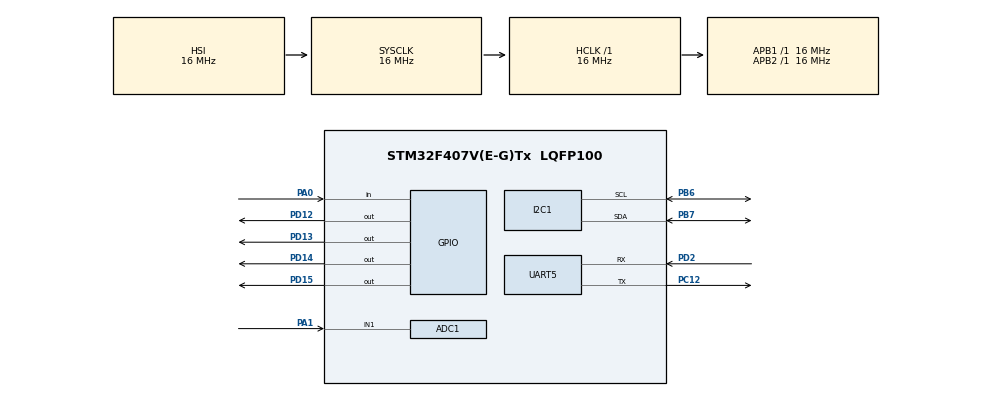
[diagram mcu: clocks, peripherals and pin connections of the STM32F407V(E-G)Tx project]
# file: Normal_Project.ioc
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ADC1.Channel-0\#ChannelRegularConversion=ADC_CHANNEL_1
ADC1.InjNumberOfConversion=0
ADC1.NbrOfConversionFlag=1
ADC1.Rank-0\#ChannelRegularConversion=1
ADC1.SamplingTime-0\#ChannelRegularConversion=ADC_SAMPLETIME_3CYCLES
ADC1.master=1
I2C1.AddressingMode=I2C_ADDRESSINGMODE_10BIT
I2C1.GeneralCallMode=I2C_GENERALCALL_DISABLE
I2C1.OwnAddress=0xEC
Mcu.Family=STM32F4
Mcu.Name=STM32F407V(E-G)Tx
Mcu.Package=LQFP100
NVIC.PriorityGroup=NVIC_PRIORITYGROUP_4
PA0-WKUP.Signal=GPIO_Input
PA1.Signal=ADCx_IN1
PB6.Mode=I2C
PB6.Signal=I2C1_SCL
PB7.Mode=I2C
PB7.Signal=I2C1_SDA
PC12.Mode=Asynchronous
PC12.Signal=UART5_TX
PD12.Signal=GPIO_Output
PD13.Signal=GPIO_Output
PD14.Signal=GPIO_Output
PD15.Signal=GPIO_Output
PD2.Mode=Asynchronous
PD2.Signal=UART5_RX
ProjectManager.HeapSize=0x200
ProjectManager.StackSize=0x400
ProjectManager.TargetToolchain=STM32CubeIDE
RCC.AHBFreq_Value=16000000
RCC.APB1Freq_Value=16000000
RCC.APB2Freq_Value=16000000
RCC.CortexFreq_Value=16000000
RCC.HSE_VALUE=25000000
RCC.HSI_VALUE=16000000
RCC.LSE_VALUE=32768
RCC.SYSCLKFreq_VALUE=16000000
RCC.VCOOutputFreq_Value=192000000
SH.ADCx_IN1.0=ADC1_IN1,IN1
UART5.VirtualMode=Asynchronous
board=custom

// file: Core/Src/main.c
/* USER CODE BEGIN Header */
/**
  ******************************************************************************
  * @file           : main.c
  * @brief          : Main program body
  ******************************************************************************
  * @attention
  *
  * Copyright (c) 2025 STMicroelectronics.
  * All rights reserved.
  *
  * This software is licensed under terms that can be found in the LICENSE file
  * in the root directory of this software component.
  * If no LICENSE file comes with this software, it is provided AS-IS.
  *
  ******************************************************************************
  */
/* USER CODE END Header */
#include "main.h"

/* USER CODE BEGIN Includes */
#include "BME280_STM32.h"
#include "struct.h"
#include "stdio.h"
#include "stdlib.h"
#include "string.h"
#include "math.h"
/* USER CODE END Includes */

/* USER CODE BEGIN PD */
#define RL 10.0  // Load resistor in kΩ

// CO2 Constants
#define A_CO2 116.6020682
#define B_CO2 -2.769034857
#define R0_CO2 47.50
// Ammonia (NH3) Constants
#define A_NH3 102.2
#define B_NH3 -2.473
#define R0_NH3 1.86
// Ethanol Constants
#define A_Ethanol 77.255
#define B_Ethanol -3.18
#define R0_Ethanol 3.75
/* USER CODE END PD */

ADC_HandleTypeDef hadc1;

I2C_HandleTypeDef hi2c1;

UART_HandleTypeDef huart5;

/* USER CODE BEGIN PV */
char buff[150];//UART buffer

/* USER CODE END PV */

void SystemClock_Config(void);
static void MX_GPIO_Init(void);
static void MX_ADC1_Init(void);
static void MX_I2C1_Init(void);
static void MX_UART5_Init(void);
/* USER CODE BEGIN PFP */
float calculate_ppm(float, float, float, float);

/* USER CODE END PFP */

int main(void)
{

  /* MCU Configuration--------------------------------------------------------*/

  /* Reset of all peripherals, Initializes the Flash interface and the Systick. */
  HAL_Init();

  /* Configure the system clock */
  SystemClock_Config();

  /* Initialize all configured peripherals */
  MX_GPIO_Init();
  MX_ADC1_Init();
  MX_I2C1_Init();
  MX_UART5_Init();
  /* USER CODE BEGIN 2 */
  BME280_Config(OSRS_2, OSRS_16, OSRS_1, MODE_NORMAL, T_SB_0p5, IIR_16);//Setting The Modes and Overlasampling in BME280
  	  	  	  	  	  	  	  	  	  	  	  	  	  	  	  	  	  	//line 79 in BME_280_STM32.c

  /* USER CODE END 2 */

  /* Infinite loop */
  while (1)
  {

    /* USER CODE BEGIN 3 */
	  HAL_ADC_Start(&hadc1);
	  BME280_Measure();//Measuring (THP-values) from sensor

	 // HAL_ADC_PollForConversion(&hadc1, 10);//waiting for conversion completion (timeout in milliseconds)
	 // SD.ADC_Data=HAL_ADC_GetValue(&hadc1);
	 // Above Poll API Pauses the ADC So we are using it only ones for checking if the value is converted or not
	  if (HAL_ADC_PollForConversion(&hadc1, 10) == HAL_OK)
	  {
		  SD.ADC_Value = HAL_ADC_GetValue(&hadc1);
	  }// Get ADC value
	  else
	  {
		  SD.ADC_Value=0;
	  }
	    // Convert ADC Value to Voltage (for 5V sensor Vcc)
	  SD.mq135_voltage = (SD.ADC_Value * 5.0) / 4095.0;

	    // Calculate Sensor Resistance (Rs)
	  SD.Rs = ((5.0 - SD.mq135_voltage) / SD.mq135_voltage) * RL;

	  SD.Co2     = calculate_ppm(SD.Rs, R0_CO2, A_CO2, B_CO2);
	  SD.NH3 = calculate_ppm(SD.Rs, R0_NH3, A_NH3, B_NH3);
	  SD.Ethanol = calculate_ppm(SD.Rs, R0_Ethanol, A_Ethanol, B_Ethanol);
	  SD.AQI = ((SD.Co2 / 10) * 0.4) + ((SD.NH3 * 100) * 0.3) + ((SD.Ethanol * 100) * 0.3);

	  sprintf(buff,"Temperature = %.2f\r\nPressure = %.2f\r\nHumidity = %.2f\r\nCo2 = %.2f\r\nAmonia(NH3) = %.2f\r\nEthanol = %.2f\r\nAQI = %.2f\r\n\n",SD.Temperature,SD.Pressure,SD.Humidity,SD.Co2,SD.NH3,SD.Ethanol,SD.AQI);
	  HAL_UART_Transmit(&huart5, (uint8_t *)buff, strlen(buff), 10);
	  HAL_Delay(500);
  }
  /* USER CODE END 3 */
}

void SystemClock_Config(void)
{
  RCC_OscInitTypeDef RCC_OscInitStruct = {0};
  RCC_ClkInitTypeDef RCC_ClkInitStruct = {0};

  /** Configure the main internal regulator output voltage
  */
  __HAL_RCC_PWR_CLK_ENABLE();
  __HAL_PWR_VOLTAGESCALING_CONFIG(PWR_REGULATOR_VOLTAGE_SCALE1);

  /** Initializes the RCC Oscillators according to the specified parameters
  * in the RCC_OscInitTypeDef structure.
  */
  RCC_OscInitStruct.OscillatorType = RCC_OSCILLATORTYPE_HSI;
  RCC_OscInitStruct.HSIState = RCC_HSI_ON;
  RCC_OscInitStruct.HSICalibrationValue = RCC_HSICALIBRATION_DEFAULT;
  RCC_OscInitStruct.PLL.PLLState = RCC_PLL_NONE;
  if (HAL_RCC_OscConfig(&RCC_OscInitStruct) != HAL_OK)
  {
    Error_Handler();
  }

  /** Initializes the CPU, AHB and APB buses clocks
  */
  RCC_ClkInitStruct.ClockType = RCC_CLOCKTYPE_HCLK|RCC_CLOCKTYPE_SYSCLK
                              |RCC_CLOCKTYPE_PCLK1|RCC_CLOCKTYPE_PCLK2;
  RCC_ClkInitStruct.SYSCLKSource = RCC_SYSCLKSOURCE_HSI;
  RCC_ClkInitStruct.AHBCLKDivider = RCC_SYSCLK_DIV1;
  RCC_ClkInitStruct.APB1CLKDivider = RCC_HCLK_DIV1;
  RCC_ClkInitStruct.APB2CLKDivider = RCC_HCLK_DIV1;

  if (HAL_RCC_ClockConfig(&RCC_ClkInitStruct, FLASH_LATENCY_0) != HAL_OK)
  {
    Error_Handler();
  }
}

static void MX_ADC1_Init(void)
{

  ADC_ChannelConfTypeDef sConfig = {0};

  /** Configure the global features of the ADC (Clock, Resolution, Data Alignment and number of conversion)
  */
  hadc1.Instance = ADC1;
  hadc1.Init.ClockPrescaler = ADC_CLOCK_SYNC_PCLK_DIV2;
  hadc1.Init.Resolution = ADC_RESOLUTION_12B;
  hadc1.Init.ScanConvMode = DISABLE;
  hadc1.Init.ContinuousConvMode = DISABLE;
  hadc1.Init.DiscontinuousConvMode = DISABLE;
  hadc1.Init.ExternalTrigConvEdge = ADC_EXTERNALTRIGCONVEDGE_NONE;
  hadc1.Init.ExternalTrigConv = ADC_SOFTWARE_START;
  hadc1.Init.DataAlign = ADC_DATAALIGN_RIGHT;
  hadc1.Init.NbrOfConversion = 1;
  hadc1.Init.DMAContinuousRequests = DISABLE;
  hadc1.Init.EOCSelection = ADC_EOC_SINGLE_CONV;
  if (HAL_ADC_Init(&hadc1) != HAL_OK)
  {
    Error_Handler();
  }

  /** Configure for the selected ADC regular channel its corresponding rank in the sequencer and its sample time.
  */
  sConfig.Channel = ADC_CHANNEL_1;
  sConfig.Rank = 1;
  sConfig.SamplingTime = ADC_SAMPLETIME_3CYCLES;
  if (HAL_ADC_ConfigChannel(&hadc1, &sConfig) != HAL_OK)
  {
    Error_Handler();
  }

}

static void MX_I2C1_Init(void)
{

  hi2c1.Instance = I2C1;
  hi2c1.Init.ClockSpeed = 100000;
  hi2c1.Init.DutyCycle = I2C_DUTYCYCLE_2;
  hi2c1.Init.OwnAddress1 = 236;
  hi2c1.Init.AddressingMode = I2C_ADDRESSINGMODE_10BIT;
  hi2c1.Init.DualAddressMode = I2C_DUALADDRESS_DISABLE;
  hi2c1.Init.OwnAddress2 = 0;
  hi2c1.Init.GeneralCallMode = I2C_GENERALCALL_DISABLE;
  hi2c1.Init.NoStretchMode = I2C_NOSTRETCH_DISABLE;
  if (HAL_I2C_Init(&hi2c1) != HAL_OK)
  {
    Error_Handler();
  }

}

static void MX_UART5_Init(void)
{

  huart5.Instance = UART5;
  huart5.Init.BaudRate = 115200;
  huart5.Init.WordLength = UART_WORDLENGTH_8B;
  huart5.Init.StopBits = UART_STOPBITS_1;
  huart5.Init.Parity = UART_PARITY_NONE;
  huart5.Init.Mode = UART_MODE_TX_RX;
  huart5.Init.HwFlowCtl = UART_HWCONTROL_NONE;
  huart5.Init.OverSampling = UART_OVERSAMPLING_16;
  if (HAL_UART_Init(&huart5) != HAL_OK)
  {
    Error_Handler();
  }

}

static void MX_GPIO_Init(void)
{
  GPIO_InitTypeDef GPIO_InitStruct = {0};

  /* GPIO Ports Clock Enable */
  __HAL_RCC_GPIOA_CLK_ENABLE();
  __HAL_RCC_GPIOD_CLK_ENABLE();
  __HAL_RCC_GPIOC_CLK_ENABLE();
  __HAL_RCC_GPIOB_CLK_ENABLE();

  /*Configure GPIO pin Output Level */
  HAL_GPIO_WritePin(GPIOD, GPIO_PIN_12|GPIO_PIN_13|GPIO_PIN_14|GPIO_PIN_15, GPIO_PIN_RESET);

  /*Configure GPIO pin : PA0 */
  GPIO_InitStruct.Pin = GPIO_PIN_0;
  GPIO_InitStruct.Mode = GPIO_MODE_INPUT;
  GPIO_InitStruct.Pull = GPIO_NOPULL;
  HAL_GPIO_Init(GPIOA, &GPIO_InitStruct);

  /*Configure GPIO pins : PD12 PD13 PD14 PD15 */
  GPIO_InitStruct.Pin = GPIO_PIN_12|GPIO_PIN_13|GPIO_PIN_14|GPIO_PIN_15;
  GPIO_InitStruct.Mode = GPIO_MODE_OUTPUT_PP;
  GPIO_InitStruct.Pull = GPIO_NOPULL;
  GPIO_InitStruct.Speed = GPIO_SPEED_FREQ_LOW;
  HAL_GPIO_Init(GPIOD, &GPIO_InitStruct);

}

/* USER CODE BEGIN 4 */
float calculate_ppm(float Rs, float R0, float A, float B)
{
    return A * pow((Rs / R0), B);
}

/* USER CODE END 4 */

void Error_Handler(void)
{
  __disable_irq();
  while (1)
  {
  }
}
